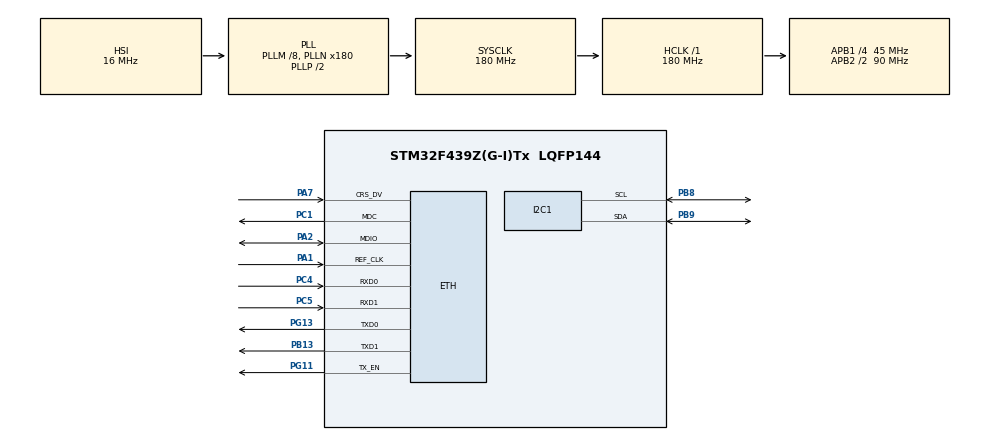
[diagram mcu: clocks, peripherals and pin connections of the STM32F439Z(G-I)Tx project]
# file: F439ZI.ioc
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ETH.MediaInterface=ETH_MEDIA_INTERFACE_RMII
ETH.PhyAddress=0
FREERTOS.Tasks01=defaultTask,24,128,StartDefaultTask,Default,NULL,Dynamic,NULL,NULL
FREERTOS.configUSE_NEWLIB_REENTRANT=1
LWIP.GATEWAY_ADDRESS=192.168.022.001
LWIP.IP_ADDRESS=192.168.001.100
LWIP.LWIP_DHCP=0
LWIP.LWIP_HTTPD=0
LWIP.MEMP_NUM_TCP_PCB=500
LWIP.MEM_SIZE=10*1024
LWIP.NETMASK_ADDRESS=255.255.255.000
LWIP.Version=v2.1.2_Cube
Mcu.Family=STM32F4
Mcu.Name=STM32F439Z(G-I)Tx
Mcu.Package=LQFP144
NVIC.ETH_IRQn=true\:5\:0\:false\:false\:true\:true\:false\:true
NVIC.PriorityGroup=NVIC_PRIORITYGROUP_4
NVIC.TIM6_DAC_IRQn=true\:15\:0\:false\:false\:true\:false\:false\:true
NVIC.TimeBase=TIM6_DAC_IRQn
NVIC.TimeBaseIP=TIM6
PA1.Mode=RMII
PA1.Signal=ETH_REF_CLK
PA13.Mode=Serial_Wire
PA13.Signal=SYS_JTMS-SWDIO
PA14.Mode=Serial_Wire
PA14.Signal=SYS_JTCK-SWCLK
PA2.Mode=RMII
PA2.Signal=ETH_MDIO
PA7.Mode=RMII
PA7.Signal=ETH_CRS_DV
PB13.Mode=RMII
PB13.Signal=ETH_TXD1
PB8.Mode=I2C
PB8.Signal=I2C1_SCL
PB9.Mode=I2C
PB9.Signal=I2C1_SDA
PC1.Mode=RMII
PC1.Signal=ETH_MDC
PC4.Mode=RMII
PC4.Signal=ETH_RXD0
PC5.Mode=RMII
PC5.Signal=ETH_RXD1
PG11.Mode=RMII
PG11.Signal=ETH_TX_EN
PG13.Mode=RMII
PG13.Signal=ETH_TXD0
ProjectManager.HeapSize=0x200
ProjectManager.StackSize=0x400
ProjectManager.TargetToolchain=STM32CubeIDE
RCC.48MHZClocksFreq_Value=90000000
RCC.AHBFreq_Value=180000000
RCC.APB1CLKDivider=RCC_HCLK_DIV4
RCC.APB1Freq_Value=45000000
RCC.APB1TimFreq_Value=90000000
RCC.APB2CLKDivider=RCC_HCLK_DIV2
RCC.APB2Freq_Value=90000000
RCC.APB2TimFreq_Value=180000000
RCC.CortexFreq_Value=180000000
RCC.HCLKFreq_Value=180000000
RCC.HSE_VALUE=25000000
RCC.HSI_VALUE=16000000
RCC.LSE_VALUE=32768
RCC.PLLM=8
RCC.PLLN=180
RCC.SYSCLKFreq_VALUE=180000000
RCC.SYSCLKSource=RCC_SYSCLKSOURCE_PLLCLK
RCC.VCOOutputFreq_Value=360000000
VP_FREERTOS_VS_CMSIS_V2.Mode=CMSIS_V2
VP_LWIP_VS_Enabled.Mode=Enabled
VP_SYS_VS_tim6.Mode=TIM6
board=custom

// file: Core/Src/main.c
/* USER CODE BEGIN Header */
/**
  ******************************************************************************
  * @file           : main.c
  * @brief          : Main program body
  ******************************************************************************
  * @attention
  *
  * Copyright (c) 2025 STMicroelectronics.
  * All rights reserved.
  *
  * This software is licensed under terms that can be found in the LICENSE file
  * in the root directory of this software component.
  * If no LICENSE file comes with this software, it is provided AS-IS.
  *
  ******************************************************************************
  */
/* USER CODE END Header */
#include "main.h"
#include "cmsis_os.h"
#include "lwip.h"

/* USER CODE BEGIN Includes */
#include "lwip/apps/httpd.h"
#include "MCP9808.h"
#include "tcp_server.h"
#include "temp_server.h"

/* USER CODE END Includes */

I2C_HandleTypeDef hi2c1;

/* Definitions for defaultTask */
osThreadId_t defaultTaskHandle;
const osThreadAttr_t defaultTask_attributes = {
  .name = "defaultTask",
  .stack_size = 128 * 4,
  .priority = (osPriority_t) osPriorityNormal,
};
/* USER CODE BEGIN PV */
const TickType_t tempTask_frequency = 1000;
TaskHandle_t tempTask_handle;

const TickType_t tcpTask_frequency = 1000;
TaskHandle_t tcpTask_handle;

extern struct netif gnetif;

/* USER CODE END PV */

void SystemClock_Config(void);
static void MX_GPIO_Init(void);
static void MX_I2C1_Init(void);
void StartDefaultTask(void *argument);

/* USER CODE BEGIN PFP */
void vTask_Temp_Update(void const * argument);
void vTask_TCP(void const * argument);

/* USER CODE END PFP */

int main(void)
{

  /* MCU Configuration--------------------------------------------------------*/

  /* Reset of all peripherals, Initializes the Flash interface and the Systick. */
  HAL_Init();

  /* Configure the system clock */
  SystemClock_Config();

  /* Initialize all configured peripherals */
  MX_GPIO_Init();
  MX_I2C1_Init();

  /* Init scheduler */
  osKernelInitialize();

  /* Create the thread(s) */
  /* creation of defaultTask */
  defaultTaskHandle = osThreadNew(StartDefaultTask, NULL, &defaultTask_attributes);

  /* USER CODE BEGIN RTOS_THREADS */
  /* add threads, ... */
  BaseType_t taskSts = xTaskCreate(vTask_Temp_Update,
    "TEMP TASK",
    configMINIMAL_STACK_SIZE,
    ( void * ) NULL,
    osPriorityNormal,
    tempTask_handle );

  assert_param(pdPASS == taskSts);

  /* USER CODE END RTOS_THREADS */

  /* Start scheduler */
  osKernelStart();

  /* We should never get here as control is now taken by the scheduler */
  /* Infinite loop */
  while (1)
  {

  }
}

void SystemClock_Config(void)
{
  RCC_OscInitTypeDef RCC_OscInitStruct = {0};
  RCC_ClkInitTypeDef RCC_ClkInitStruct = {0};

  /** Configure the main internal regulator output voltage
  */
  __HAL_RCC_PWR_CLK_ENABLE();
  __HAL_PWR_VOLTAGESCALING_CONFIG(PWR_REGULATOR_VOLTAGE_SCALE1);
  /** Initializes the RCC Oscillators according to the specified parameters
  * in the RCC_OscInitTypeDef structure.
  */
  RCC_OscInitStruct.OscillatorType = RCC_OSCILLATORTYPE_HSI;
  RCC_OscInitStruct.HSIState = RCC_HSI_ON;
  RCC_OscInitStruct.HSICalibrationValue = RCC_HSICALIBRATION_DEFAULT;
  RCC_OscInitStruct.PLL.PLLState = RCC_PLL_ON;
  RCC_OscInitStruct.PLL.PLLSource = RCC_PLLSOURCE_HSI;
  RCC_OscInitStruct.PLL.PLLM = 8;
  RCC_OscInitStruct.PLL.PLLN = 180;
  RCC_OscInitStruct.PLL.PLLP = RCC_PLLP_DIV2;
  RCC_OscInitStruct.PLL.PLLQ = 4;
  if (HAL_RCC_OscConfig(&RCC_OscInitStruct) != HAL_OK)
  {
    Error_Handler();
  }
  /** Activate the Over-Drive mode
  */
  if (HAL_PWREx_EnableOverDrive() != HAL_OK)
  {
    Error_Handler();
  }
  /** Initializes the CPU, AHB and APB buses clocks
  */
  RCC_ClkInitStruct.ClockType = RCC_CLOCKTYPE_HCLK|RCC_CLOCKTYPE_SYSCLK
                              |RCC_CLOCKTYPE_PCLK1|RCC_CLOCKTYPE_PCLK2;
  RCC_ClkInitStruct.SYSCLKSource = RCC_SYSCLKSOURCE_PLLCLK;
  RCC_ClkInitStruct.AHBCLKDivider = RCC_SYSCLK_DIV1;
  RCC_ClkInitStruct.APB1CLKDivider = RCC_HCLK_DIV4;
  RCC_ClkInitStruct.APB2CLKDivider = RCC_HCLK_DIV2;

  if (HAL_RCC_ClockConfig(&RCC_ClkInitStruct, FLASH_LATENCY_5) != HAL_OK)
  {
    Error_Handler();
  }
}

static void MX_I2C1_Init(void)
{

  hi2c1.Instance = I2C1;
  hi2c1.Init.ClockSpeed = 100000;
  hi2c1.Init.DutyCycle = I2C_DUTYCYCLE_2;
  hi2c1.Init.OwnAddress1 = 0;
  hi2c1.Init.AddressingMode = I2C_ADDRESSINGMODE_7BIT;
  hi2c1.Init.DualAddressMode = I2C_DUALADDRESS_DISABLE;
  hi2c1.Init.OwnAddress2 = 0;
  hi2c1.Init.GeneralCallMode = I2C_GENERALCALL_DISABLE;
  hi2c1.Init.NoStretchMode = I2C_NOSTRETCH_DISABLE;
  if (HAL_I2C_Init(&hi2c1) != HAL_OK)
  {
    Error_Handler();
  }
  /** Configure Analogue filter
  */
  if (HAL_I2CEx_ConfigAnalogFilter(&hi2c1, I2C_ANALOGFILTER_ENABLE) != HAL_OK)
  {
    Error_Handler();
  }
  /** Configure Digital filter
  */
  if (HAL_I2CEx_ConfigDigitalFilter(&hi2c1, 0) != HAL_OK)
  {
    Error_Handler();
  }

}

static void MX_GPIO_Init(void)
{

  /* GPIO Ports Clock Enable */
  __HAL_RCC_GPIOC_CLK_ENABLE();
  __HAL_RCC_GPIOA_CLK_ENABLE();
  __HAL_RCC_GPIOB_CLK_ENABLE();
  __HAL_RCC_GPIOG_CLK_ENABLE();

}

/* USER CODE BEGIN 4 */

void vTask_Temp_Update(void const * argument){

  TickType_t xNextWakeTime;

  /* Init temp sensor */
  HAL_StatusTypeDef status = MPC_init(DEFAULT_IIC_ADDR, &hi2c1);
  if (status != HAL_OK){
    return;
  }

	const TickType_t xBlockTime = tempTask_frequency/portTICK_RATE_MS;
	xNextWakeTime = xTaskGetTickCount();

  bool crit, upper, lower;
  float temp = 0.f;

  for(;;){

    vTaskDelayUntil( &xNextWakeTime, xBlockTime );

    MPC_get_temp(&temp);

    MPC_get_alarms(&crit, &upper, &lower);

  }
}

/* USER CODE END 4 */

void StartDefaultTask(void *argument)
{
  /* init code for LWIP */
  MX_LWIP_Init();
  /* USER CODE BEGIN 5 */

  tcp_server_init(7, temp_message_handle);
  /* Infinite loop */
  for(;;)
  {
    osDelay(1);
  }
  /* USER CODE END 5 */
}

void HAL_TIM_PeriodElapsedCallback(TIM_HandleTypeDef *htim)
{
  if (htim->Instance == TIM6) {
    HAL_IncTick();
  }
}

void Error_Handler(void)
{
  __disable_irq();
  while (1)
  {
  }
}
